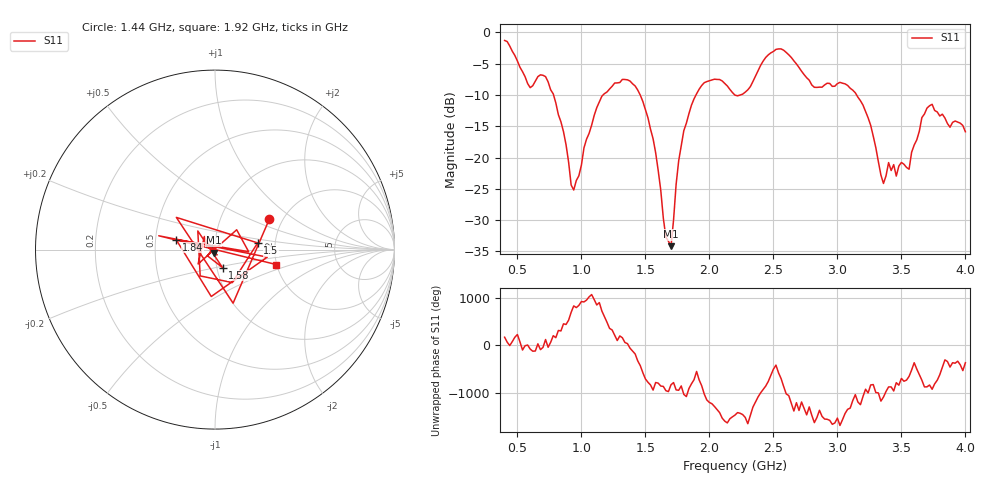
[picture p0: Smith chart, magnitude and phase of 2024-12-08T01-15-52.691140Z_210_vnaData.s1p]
!Created with skrf (http://scikit-rf.org).
# Hz S RI R 50.0
!freq ReS11 ImS11
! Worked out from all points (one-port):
!   181 points, 400 MHz to 4 GHz, reference 50 ohm
!   lowest |S11| = -34.2 dB at 1.7 GHz (marker M1), VSWR 1.04, Z = 49.2 - j1.76 ohm
!   |S11| at or under -10 dB: 782.3 MHz to 1.17 GHz (387.6 MHz wide, 39.7 % of centre); 1.459 GHz to 1.896 GHz (436.4 MHz wide, 26 % of centre); 3.15 GHz to end of sweep (the widest 3 of 4)
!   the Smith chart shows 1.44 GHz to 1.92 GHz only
!   S11 on the Smith chart (normalised r, x): 1.44 GHz: 1.71, +0.65; 1.5 GHz: 1.62, +0.13; 1.58 GHz: 1.07, -0.22; 1.84 GHz: 0.64, +0.08; 1.92 GHz: 1.99, -0.38
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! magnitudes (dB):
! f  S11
! 400 MHz  -1.3
! 600 MHz  -8.8
! 720 MHz  -7.1
! 860 MHz  -15.9
! 940 MHz  -25.2
! 1.12 GHz  -12.0
! 1.3 GHz  -8.0
! 1.44 GHz  -9.2
! 1.5 GHz  -12.4
! 1.58 GHz  -19.2
! 1.66 GHz  -32.7
! 1.7 GHz  -34.2
! 1.76 GHz  -20.5
! 1.84 GHz  -13.0
! 1.92 GHz  -9.1
! 2.08 GHz  -7.5
! 2.2 GHz  -10.0
! 2.52 GHz  -2.7
! 2.66 GHz  -4.6
! 2.82 GHz  -8.8
! 3.1 GHz  -8.9
! 3.24 GHz  -13.7
! 3.36 GHz  -24.1
! 3.4 GHz  -20.8
! 3.56 GHz  -21.9
! 3.66 GHz  -13.6
! 3.72 GHz  -11.7
! 4 GHz  -15.9
